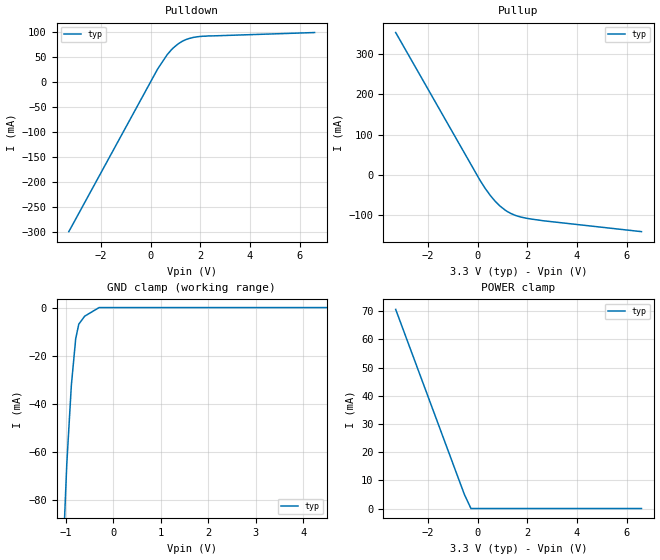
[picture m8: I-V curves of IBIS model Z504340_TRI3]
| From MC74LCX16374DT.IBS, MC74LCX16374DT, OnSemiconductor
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| (C) COPYRIGHT 1993-2000
| MENTOR GRAPHICS CORPORATION
| ICX STANDARD LIBRARY, ICX PROJECT MODELING,
| ICX CUSTOM MODELING, ICX VENDOR MODEL
| ALL RIGHTS RESERVED.
| THE FOLLOWING ARE TRADEMARKS OR SERVICE MARKS OF
| MENTOR GRAPHICS CORPORATION:ICX (R), ICX STANDARD
| LIBRARY(R), ICX PROJECT MODELING(R), ICX CUSTOM
| MODELING(R), qualityIBIS(TM), MODELVIEWER(TM),
| AND MODELEDITOR(TM)
| ALL COPIES OF SOFTWARE, INCLUDING BUT NOT LIMITED TO
| ANY MODIFICATIONS, ENHANCEMENTS OR DERIVATIVE WORKS,
| MUST CONTAIN ALL MENTOR GRAPHICS CORPORATION'S
| NOTICES AND LEGENDS, INCLUDING THOSE EMBEDDED IN
| SOFTWARE AND THOSE AFFIXED TO SOFTWARE MEDIUM
| AND CONTAINER, AS RECEIVED FROM MENTOR GRAPHICS
| CORPORATION.
| Model Application Version 1.89 2/18/99.
[Model] Z504340_TRI3
Model_type 3-state
Vref=0.000V
Rref=500.0ohms
Cref=50.00pF
Vmeas=1.500V
C_comp 8.000pF NA NA
| variable typ   min   max
[Voltage Range] 3.300V NA NA
[POWER Clamp Reference] 3.300V NA NA
[Pullup Reference] 3.300V NA NA
[Pulldown Reference] 0.000V NA NA
[GND Clamp Reference] 0.000V NA NA
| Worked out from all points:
|   slope of the pulldown table from 0 to 0.495 V, typ, clamps not added: 12 ohm
|   slope of the pullup table from 0 to 0.495 V, typ, clamps not added: 10.6 ohm
[GND Clamp]
-3.3V     -1.172A    NA         NA
-983.1mV  -64.85mA   NA         NA
-887.8mV  -32.4mA    NA         NA
-795.7mV  -12.92mA   NA         NA
-730.7mV  -6.899mA   NA         NA
-605.4mV  -3.565mA   NA         NA
-302.7mV  0A         NA         NA
6.6V      0A         NA         NA
[Pulldown]
-3.3V     -299.9mA   NA         NA
278.4mV   25.27mA    NA         NA
665.4mV   54.05mA    NA         NA
835.2mV   63.72mA    NA         NA
1.105V    75.41mA    NA         NA
1.533V    86mA       NA         NA
2.082V    90.67mA    NA         NA
6.6V      98.06mA    NA         NA
[Pullup]
-3.3V     353.4mA    NA         NA
87mV      -12.14mA   NA         NA
522mV     -51.6mA    NA         NA
894mV     -76.62mA   NA         NA
1.333V    -95.21mA   NA         NA
1.978V    -107.4mA   NA         NA
6.6V      -140.5mA   NA         NA
[POWER Clamp]
-3.3V     70.66mA    NA         NA
-535mV    5.023mA    NA         NA
-267.5mV  0A         NA         NA
6.6V      0A         NA         NA
[Ramp]
| variable typ min max
dV/dt_r 1.959/306.0p NA NA
dV/dt_f 1.959/392.2p NA NA
R_load = 500.0Ohms
